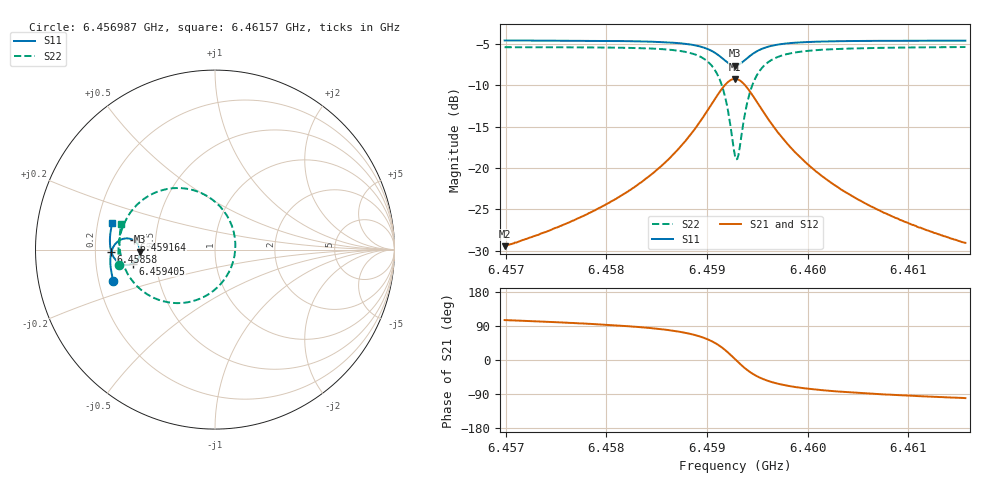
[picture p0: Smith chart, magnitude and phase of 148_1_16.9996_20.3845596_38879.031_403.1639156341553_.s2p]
#  HZ  S  RI  R  50.00
! Rohde & Schwarz Vector Network Analyzer
! Rohde-Schwarz,ZNB20-2Port,1311601062101988,3.16
! Created: UTC 3/20/2024, 10:58:43 PM
! freq[Hz]  re:S11  im:S11  re:S21  im:S21  re:S12  im:S12  re:S22  im:S22
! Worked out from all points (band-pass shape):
!   401 points, 6.456987 GHz to 6.46157 GHz, reference 50 ohm
!   highest |S21| = -9.20 dB at 6.459279 GHz (marker M1); lowest = -29.4 dB at 6.456987 GHz (marker M2)
!   |S21| within 3 dB of the highest: 6.459049 GHz to 6.459507 GHz (458.2 kHz wide, 0.00709 % of centre)
!   lowest |S11| = -7.6 dB at 6.459279 GHz (marker M3), VSWR 2.43, Z = 20.6 - j0.573 ohm
!   |S11| at or under -10 dB: nowhere
!   |S22| runs from -18.9 to -5.3 dB; largest |S21 - S12| = 0.014
!   S11 on the Smith chart (normalised r, x): 6.456987 GHz: 0.26, -0.14; 6.45858 GHz: 0.27, -0.01; 6.459164 GHz: 0.37, +0.05; 6.459405 GHz: 0.37, -0.07; 6.46157 GHz: 0.26, +0.12
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6.4569869e9  -0.5664 -0.1728  -0.00891 0.0325  -0.00719 0.0324  -0.5324 -0.0848
6.4577546e9  -0.5803 -0.1055  -0.00577 0.0506  -0.00321 0.05  -0.5377 0.00505
6.4581901e9  -0.5834 -0.0618  0.00046 0.0709  0.00376 0.0695  -0.529 0.0745
6.4585223e9  -0.5795 -0.0218  0.0141 0.0992  0.018 0.0965  -0.5042 0.1503
6.4585796e9  -0.5778 -0.0138  0.0184 0.106  0.0225 0.1029  -0.496 0.1669
6.4587859e9  -0.5646 0.0183  0.0461 0.1386  0.0501 0.1337  -0.4443 0.2397
6.4589348e9  -0.5418 0.0447  0.0916 0.1694  0.0947 0.1628  -0.3607 0.3043
6.4590724e9  -0.4978 0.0624  0.179 0.1859  0.1802 0.1787  -0.2009 0.343
6.459164e9  -0.453 0.052  0.2693 0.1545  0.2696 0.1488  -0.034 0.2923
6.4592328e9  -0.4239 0.0196  0.3301 0.0824  0.3322 0.077  0.0814 0.1622
6.4592786e9  -0.4169 -0.0115  0.3464 0.0142  0.3501 0.00722  0.1133 0.0348
6.4592901e9  -0.4174 -0.0197  0.3461 -0.00372  0.3501 -0.0113  0.1129 0.00106
6.459313e9  -0.4209 -0.0353  0.3405 -0.0386  0.3443 -0.0475  0.1015 -0.0647
6.4593588e9  -0.4366 -0.0616  0.3117 -0.0985  0.314 -0.1103  0.0435 -0.1778
6.4594046e9  -0.4588 -0.078  0.2695 -0.1395  0.2688 -0.1527  -0.0417 -0.2523
6.4594963e9  -0.5022 -0.085  0.1848 -0.1706  0.1786 -0.1821  -0.2104 -0.2982
6.4596453e9  -0.5463 -0.0645  0.0968 -0.157  0.0883 -0.1631  -0.378 -0.2487
6.4598057e9  -0.5679 -0.0369  0.0518 -0.1289  0.0443 -0.1318  -0.4583 -0.1767
6.4600463e9  -0.5809 -0.00137  0.0224 -0.0974  0.0167 -0.0981  -0.5065 -0.0944
6.4604244e9  -0.5855 0.0434  0.00545 -0.0685  0.00157 -0.0681  -0.529 -0.00901
6.460814e9  -0.5838 0.0822  -0.00129 -0.052  -0.0041 -0.0512  -0.5324 0.0527
6.4615703e9  -0.5718 0.1493  -0.00648 -0.0347  -0.00811 -0.0338  -0.5213 0.142
